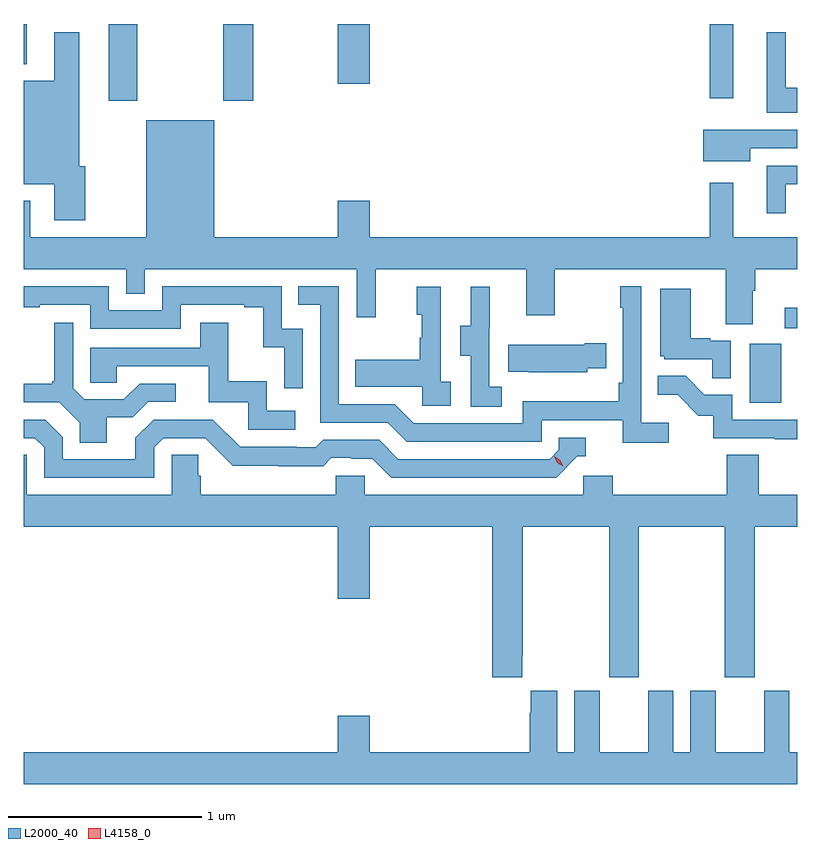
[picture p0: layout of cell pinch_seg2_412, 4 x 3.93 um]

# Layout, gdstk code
import gdstk
lib = gdstk.Library(unit=1e-6, precision=1e-09)
def R(c, l, rs):  # rectangles x0, y0, x1, y1
    for r in rs: c.add(gdstk.rectangle(r[:2], r[2:], *l))
def P(c, l, *ps):  # polygons
    for p in ps: c.add(gdstk.Polygon(p, *l))
L2000_40 = (2000, 40)
L4158_0 = (4158, 0)

pinch_seg2_412 = lib.new_cell('pinch_seg2_412')
R(pinch_seg2_412, L2000_40, [(946.358,608.316,946.522,608.623), (946.539,608.703,946.604,608.809), (943.043,609.879,943.191,610.276), (943.636,609.879,943.791,610.276), (946.152,609.891,946.273,610.276), (944.228,609.966,944.392,610.276), (942.604,610.067,942.619,610.276)])
P(pinch_seg2_412, L2000_40, [(946.604,609.946),(946.546,609.946),(946.546,610.234),(946.448,610.234),(946.448,609.818),(946.604,609.818)],
  [(942.921,609.54),(942.889,609.54),(942.889,610.234),(942.761,610.234),(942.761,609.982),(942.604,609.982),(942.604,609.447),(942.761,609.447),(942.761,609.261),(942.921,609.261)],
  [(946.375,608.896),(946.388,608.896),(946.388,609.008),(946.604,609.008),(946.604,609.172),(946.273,609.172),(946.273,609.454),(946.152,609.454),(946.152,609.172),(944.392,609.172),(944.392,609.361),(944.228,609.361),(944.228,609.172),(943.588,609.172),(943.588,609.778),(943.238,609.778),(943.238,609.172),(942.637,609.172),(942.637,609.362),(942.604,609.362),(942.604,609.008),(943.134,609.008),(943.134,608.881),(943.23,608.881),(943.23,609.008),(944.325,609.008),(944.325,608.76),(944.423,608.76),(944.423,609.008),(945.203,609.008),(945.203,608.769),(945.351,608.769),(945.351,609.008),(946.235,609.008),(946.235,608.722),(946.375,608.722)],
  [(946.363,609.633),(946.604,609.633),(946.604,609.729),(946.359,609.729),(946.359,609.73),(946.118,609.73),(946.118,609.566),(946.363,609.566)],
  [(946.546,609.447),(946.604,609.447),(946.604,609.543),(946.448,609.543),(946.448,609.297),(946.546,609.297)],
  [(945.94,608.212),(945.798,608.212),(945.798,608.92),(945.69,608.92),(945.69,608.807),(945.702,608.807),(945.702,608.419),(945.682,608.419),(945.682,608.323),(945.186,608.323),(945.186,608.211),(944.622,608.211),(944.523,608.31),(944.232,608.31),(944.232,608.919),(944.023,608.919),(944.023,608.823),(944.136,608.823),(944.136,608.214),(944.486,608.214),(944.585,608.115),(945.282,608.115),(945.282,608.226),(945.701,608.226),(945.701,608.11),(945.94,608.11)],
  [(944.046,608.7),(943.938,608.7),(943.938,608.919),(943.32,608.919),(943.32,608.796),(943.044,608.796),(943.044,608.919),(942.604,608.919),(942.604,608.811),(942.685,608.811),(942.685,608.823),(942.948,608.823),(942.948,608.7),(943.416,608.7),(943.416,608.823),(943.745,608.823),(943.745,608.811),(943.841,608.811),(943.841,608.603),(943.95,608.603),(943.95,608.391),(944.046,608.391)],
  [(945.076,608.399),(945.012,608.399),(945.012,608.703),(945.014,608.703),(945.014,608.917),(944.915,608.917),(944.915,608.715),(944.861,608.715),(944.861,608.56),(944.916,608.56),(944.916,608.296),(945.076,608.296)],
  [(944.812,608.426),(944.76,608.426),(944.76,608.917),(944.636,608.917),(944.636,608.772),(944.662,608.772),(944.662,608.654),(944.652,608.654),(944.652,608.539),(944.317,608.539),(944.317,608.399),(944.664,608.399),(944.664,608.301),(944.812,608.301)],
  [(946.26,608.637),(946.154,608.637),(946.154,608.65),(946.054,608.65),(946.054,608.905),(945.896,608.905),(945.896,608.556),(945.918,608.556),(945.918,608.541),(946.165,608.541),(946.165,608.443),(946.26,608.443)],
  [(944.008,608.274),(943.86,608.274),(943.86,608.428),(943.661,608.428),(943.661,608.731),(943.517,608.731),(943.517,608.601),(942.948,608.601),(942.948,608.421),(943.085,608.421),(943.085,608.505),(943.559,608.505),(943.559,608.319),(943.764,608.319),(943.764,608.178),(944.008,608.178)],
  [(943.033,608.242),(943.168,608.242),(943.248,608.322),(943.39,608.322),(943.39,608.415),(943.202,608.415),(943.121,608.334),(942.915,608.334),(942.858,608.391),(942.858,608.731),(942.761,608.731),(942.761,608.428),(942.75,608.428),(942.75,608.416),(942.604,608.416),(942.604,608.319),(942.786,608.319),(942.893,608.212),(942.893,608.11),(943.033,608.11)],
  [(945.519,608.495),(945.617,608.495),(945.617,608.625),(945.506,608.625),(945.506,608.617),(945.109,608.617),(945.109,608.477),(945.217,608.477),(945.217,608.474),(945.519,608.474)],
  [(946.604,608.229),(946.269,608.229),(946.269,608.358),(946.125,608.358),(946.027,608.456),(945.883,608.456),(945.883,608.357),(945.987,608.357),(946.094,608.25),(946.171,608.25),(946.171,608.133),(946.489,608.133),(946.489,608.128),(946.604,608.128)],
  [(943.278,608.085),(943.326,608.133),(943.542,608.133),(943.684,607.991),(943.92,607.991),(943.92,607.989),(944.153,607.989),(944.195,608.031),(944.298,608.031),(944.298,608.028),(944.405,608.028),(944.504,607.929),(945.357,607.929),(945.468,608.04),(945.511,608.04),(945.511,608.136),(945.372,608.136),(945.372,608.073),(945.324,608.025),(944.541,608.025),(944.442,608.124),(944.153,608.124),(944.114,608.085),(944.015,608.085),(944.015,608.088),(943.722,608.088),(943.581,608.229),(943.275,608.229),(943.181,608.135),(943.181,608.025),(942.804,608.025),(942.804,608.139),(942.714,608.229),(942.604,608.229),(942.604,608.133),(942.66,608.133),(942.708,608.085),(942.708,607.929),(943.278,607.929)],
  [(945.181,607.009),(945.186,607.009),(945.186,607.676),(945.631,607.676),(945.631,606.897),(945.786,606.897),(945.786,607.676),(946.231,607.676),(946.231,606.897),(946.386,606.897),(946.386,607.676),(946.604,607.676),(946.604,607.84),(946.406,607.84),(946.406,608.048),(946.241,608.048),(946.241,607.84),(945.65,607.84),(945.65,607.938),(945.498,607.938),(945.498,607.84),(944.367,607.84),(944.367,607.938),(944.217,607.938),(944.217,607.84),(943.52,607.84),(943.52,607.938),(943.505,607.938),(943.505,608.048),(943.368,608.048),(943.368,607.84),(942.618,607.84),(942.618,608.048),(942.604,608.048),(942.604,607.676),(944.228,607.676),(944.228,607.302),(944.392,607.302),(944.392,607.676),(945.026,607.676),(945.026,606.897),(945.181,606.897)],
  [(946.604,606.508),(946.564,606.508),(946.564,606.826),(946.433,606.826),(946.433,606.508),(946.183,606.508),(946.183,606.826),(946.052,606.826),(946.052,606.508),(945.964,606.508),(945.964,606.826),(945.833,606.826),(945.833,606.508),(945.583,606.508),(945.583,606.826),(945.452,606.826),(945.452,606.508),(945.364,606.508),(945.364,606.826),(945.227,606.826),(945.227,606.713),(945.221,606.713),(945.221,606.508),(944.392,606.508),(944.392,606.697),(944.228,606.697),(944.228,606.508),(942.604,606.508),(942.604,606.344),(946.604,606.344)])
P(pinch_seg2_412, L4158_0, [(945.395,607.987),(945.364,608.007),(945.349,608.04),(945.349,608.04),(945.349,608.04),(945.379,608.02),(945.395,607.987),(945.395,607.987)])

lib.write_gds('pinch_seg2_412.gds')
